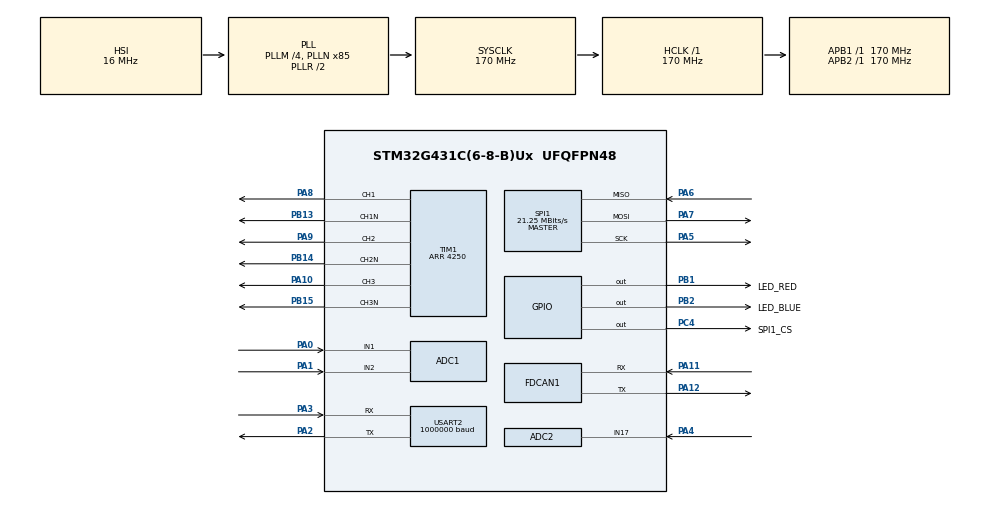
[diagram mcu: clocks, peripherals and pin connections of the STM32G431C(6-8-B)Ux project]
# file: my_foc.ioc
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ADC1.EnableInjectedConversion=ENABLE
ADC1.EnableRegularConversion=DISABLE
ADC1.ExternalTrigInjecConv=ADC_EXTERNALTRIGINJEC_T1_TRGO
ADC1.InjNumberOfConversion=2
ADC1.InjectedChannel-1\#ChannelInjectedConversion=ADC_CHANNEL_1
ADC1.InjectedChannel-2\#ChannelInjectedConversion=ADC_CHANNEL_2
ADC1.InjectedOffsetNumber-1\#ChannelInjectedConversion=ADC_OFFSET_NONE
ADC1.InjectedOffsetNumber-2\#ChannelInjectedConversion=ADC_OFFSET_NONE
ADC1.InjectedRank-1\#ChannelInjectedConversion=1
ADC1.InjectedRank-2\#ChannelInjectedConversion=2
ADC1.InjectedSamplingTime-1\#ChannelInjectedConversion=ADC_SAMPLETIME_47CYCLES_5
ADC1.InjectedSamplingTime-2\#ChannelInjectedConversion=ADC_SAMPLETIME_47CYCLES_5
ADC1.Rank1_Channel=ADC_CHANNEL_1
ADC1.Rank2_Channel=ADC_CHANNEL_2
ADC1.master=1
ADC2.Channel-1\#ChannelRegularConversion=ADC_CHANNEL_17
ADC2.NbrOfConversionFlag=1
ADC2.OffsetNumber-1\#ChannelRegularConversion=ADC_OFFSET_NONE
ADC2.Rank-1\#ChannelRegularConversion=1
ADC2.SamplingTime-1\#ChannelRegularConversion=ADC_SAMPLETIME_47CYCLES_5
Dma.Request0=USART2_TX
Dma.Request1=USART2_RX
Dma.USART2_RX.1.Direction=DMA_PERIPH_TO_MEMORY
Dma.USART2_RX.1.EventEnable=DISABLE
Dma.USART2_RX.1.Instance=DMA1_Channel2
Dma.USART2_RX.1.MemDataAlignment=DMA_MDATAALIGN_BYTE
Dma.USART2_RX.1.MemInc=DMA_MINC_ENABLE
Dma.USART2_RX.1.Mode=DMA_NORMAL
Dma.USART2_RX.1.PeriphDataAlignment=DMA_PDATAALIGN_BYTE
Dma.USART2_RX.1.PeriphInc=DMA_PINC_DISABLE
Dma.USART2_RX.1.Polarity=HAL_DMAMUX_REQ_GEN_RISING
Dma.USART2_RX.1.Priority=DMA_PRIORITY_HIGH
Dma.USART2_RX.1.RequestNumber=1
Dma.USART2_RX.1.SignalID=NONE
Dma.USART2_RX.1.SyncEnable=DISABLE
Dma.USART2_RX.1.SyncPolarity=HAL_DMAMUX_SYNC_NO_EVENT
Dma.USART2_RX.1.SyncRequestNumber=1
Dma.USART2_RX.1.SyncSignalID=NONE
Dma.USART2_TX.0.Direction=DMA_MEMORY_TO_PERIPH
Dma.USART2_TX.0.EventEnable=DISABLE
Dma.USART2_TX.0.Instance=DMA1_Channel1
Dma.USART2_TX.0.MemDataAlignment=DMA_MDATAALIGN_BYTE
Dma.USART2_TX.0.MemInc=DMA_MINC_ENABLE
Dma.USART2_TX.0.Mode=DMA_NORMAL
Dma.USART2_TX.0.PeriphDataAlignment=DMA_PDATAALIGN_BYTE
Dma.USART2_TX.0.PeriphInc=DMA_PINC_DISABLE
Dma.USART2_TX.0.Polarity=HAL_DMAMUX_REQ_GEN_RISING
Dma.USART2_TX.0.Priority=DMA_PRIORITY_HIGH
Dma.USART2_TX.0.RequestNumber=1
Dma.USART2_TX.0.SignalID=NONE
Dma.USART2_TX.0.SyncEnable=DISABLE
Dma.USART2_TX.0.SyncPolarity=HAL_DMAMUX_SYNC_NO_EVENT
Dma.USART2_TX.0.SyncRequestNumber=1
Dma.USART2_TX.0.SyncSignalID=NONE
FDCAN1.AutoRetransmission=ENABLE
FDCAN1.CalculateBaudRateNominal=999999
FDCAN1.CalculateTimeBitNominal=1000
FDCAN1.CalculateTimeQuantumNominal=58.82352941176471
FDCAN1.DataSyncJumpWidth=3
FDCAN1.FrameFormat=FDCAN_FRAME_FD_NO_BRS
FDCAN1.Mode=FDCAN_MODE_NORMAL
FDCAN1.NominalPrescaler=10
FDCAN1.NominalTimeSeg1=13
FDCAN1.NominalTimeSeg2=3
FDCAN1.StdFiltersNbr=1
Mcu.Family=STM32G4
Mcu.Name=STM32G431C(6-8-B)Ux
Mcu.Package=UFQFPN48
NVIC.ADC1_2_IRQn=true\:0\:0\:false\:false\:true\:true\:true\:true
NVIC.DMA1_Channel1_IRQn=true\:0\:0\:false\:false\:true\:false\:true\:true
NVIC.DMA1_Channel2_IRQn=true\:0\:0\:false\:false\:true\:false\:true\:true
NVIC.FDCAN1_IT0_IRQn=true\:0\:0\:false\:false\:true\:true\:true\:true
NVIC.PriorityGroup=NVIC_PRIORITYGROUP_4
NVIC.TIM1_UP_TIM16_IRQn=true\:0\:0\:false\:false\:true\:true\:true\:true
NVIC.TIM2_IRQn=true\:0\:0\:false\:false\:true\:true\:true\:true
NVIC.USART2_IRQn=true\:0\:0\:false\:false\:true\:true\:true\:true
PA0.Mode=IN1-Single-Ended
PA0.Signal=ADC1_IN1
PA1.Mode=IN2-Single-Ended
PA1.Signal=ADC1_IN2
PA10.Signal=S_TIM1_CH3
PA11.Mode=FDCAN_Activate
PA11.Signal=FDCAN1_RX
PA12.Mode=FDCAN_Activate
PA12.Signal=FDCAN1_TX
PA13.Mode=Serial_Wire
PA13.Signal=SYS_JTMS-SWDIO
PA14.Mode=Serial_Wire
PA14.Signal=SYS_JTCK-SWCLK
PA2.Mode=Asynchronous
PA2.Signal=USART2_TX
PA3.Mode=Asynchronous
PA3.Signal=USART2_RX
PA4.Mode=IN17-Single-Ended
PA4.Signal=ADC2_IN17
PA5.Mode=Full_Duplex_Master
PA5.Signal=SPI1_SCK
PA6.Mode=Full_Duplex_Master
PA6.Signal=SPI1_MISO
PA7.Mode=Full_Duplex_Master
PA7.Signal=SPI1_MOSI
PA8.Signal=S_TIM1_CH1
PA9.Signal=S_TIM1_CH2
PB1.GPIO_Label=LED_RED
PB1.GPIO_ModeDefaultOutputPP=GPIO_MODE_OUTPUT_PP
PB1.GPIO_PuPd=GPIO_PULLUP
PB1.Signal=GPIO_Output
PB13.Mode=PWM Generation1 CH1 CH1N
PB13.Signal=TIM1_CH1N
PB14.Mode=PWM Generation2 CH2 CH2N
PB14.Signal=TIM1_CH2N
PB15.Mode=PWM Generation3 CH3 CH3N
PB15.Signal=TIM1_CH3N
PB2.GPIO_Label=LED_BLUE
PB2.GPIO_PuPd=GPIO_PULLUP
PB2.Signal=GPIO_Output
PC4.GPIO_Label=SPI1_CS
PC4.GPIO_Speed=GPIO_SPEED_FREQ_VERY_HIGH
PC4.PinState=GPIO_PIN_SET
PC4.Signal=GPIO_Output
ProjectManager.HeapSize=0x1000
ProjectManager.StackSize=0x1000
ProjectManager.TargetToolchain=CMake
RCC.ADC12Freq_Value=170000000
RCC.AHBFreq_Value=170000000
RCC.APB1Freq_Value=170000000
RCC.APB1TimFreq_Value=170000000
RCC.APB2Freq_Value=170000000
RCC.APB2TimFreq_Value=170000000
RCC.CortexFreq_Value=170000000
RCC.EXTERNAL_CLOCK_VALUE=12288000
RCC.HCLKFreq_Value=170000000
RCC.HSE_VALUE=8000000
RCC.HSI48_VALUE=48000000
RCC.HSI_VALUE=16000000
RCC.LSE_VALUE=32768
RCC.PLLM=RCC_PLLM_DIV4
RCC.PLLN=85
RCC.SYSCLKFreq_VALUE=170000000
RCC.SYSCLKSource=RCC_SYSCLKSOURCE_PLLCLK
RCC.USBFreq_Value=170000000
RCC.VCOOutputFreq_Value=340000000
SH.S_TIM1_CH1.0=TIM1_CH1,PWM Generation1 CH1 CH1N
SH.S_TIM1_CH2.0=TIM1_CH2,PWM Generation2 CH2 CH2N
SH.S_TIM1_CH3.0=TIM1_CH3,PWM Generation3 CH3 CH3N
SPI1.BaudRatePrescaler=SPI_BAUDRATEPRESCALER_8
SPI1.CLKPhase=SPI_PHASE_2EDGE
SPI1.CLKPolarity=SPI_POLARITY_HIGH
SPI1.CalculateBaudRate=21.25 MBits/s
SPI1.DataSize=SPI_DATASIZE_8BIT
SPI1.Direction=SPI_DIRECTION_2LINES
SPI1.Mode=SPI_MODE_MASTER
SPI1.VirtualType=VM_MASTER
TIM1.AutoReloadPreload=TIM_AUTORELOAD_PRELOAD_ENABLE
TIM1.AutomaticOutput=TIM_AUTOMATICOUTPUT_ENABLE
TIM1.Channel-PWM\ Generation1\ CH1\ CH1N=TIM_CHANNEL_1
TIM1.Channel-PWM\ Generation2\ CH2\ CH2N=TIM_CHANNEL_2
TIM1.Channel-PWM\ Generation3\ CH3\ CH3N=TIM_CHANNEL_3
TIM1.Channel-PWM\ Generation4\ No\ Output=TIM_CHANNEL_4
TIM1.CounterMode=TIM_COUNTERMODE_CENTERALIGNED1
TIM1.DeadTime=100
TIM1.PeriodNoDither=4250
TIM1.PulseNoDither_4=200
TIM1.RepetitionCounter=1
TIM1.TIM_MasterOutputTrigger=TIM_TRGO_OC4REF
TIM2.PeriodNoDither=1000 -1
TIM2.Prescaler=170 -1
USART2.BaudRate=1000000
USART2.VirtualMode-Asynchronous=VM_ASYNC
VP_CORDIC_VS_CORDIC.Mode=CORDIC_Activate
VP_SYS_VS_DBSignals.Mode=DisableDeadBatterySignals
VP_TIM1_VS_no_output4.Mode=PWM Generation4 No Output
VP_TIM2_VS_ClockSourceINT.Mode=Internal
board=custom

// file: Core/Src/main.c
/* USER CODE BEGIN Header */
/**
  ******************************************************************************
  * @file           : main.c
  * @brief          : Main program body
  ******************************************************************************
  * @attention
  *
  * Copyright (c) 2026 STMicroelectronics.
  * All rights reserved.
  *
  * This software is licensed under terms that can be found in the LICENSE file
  * in the root directory of this software component.
  * If no LICENSE file comes with this software, it is provided AS-IS.
  *
  ******************************************************************************
  */
/* USER CODE END Header */
#include "main.h"
#include "adc.h"
#include "cordic.h"
#include "dma.h"
#include "fdcan.h"
#include "spi.h"
#include "tim.h"
#include "usart.h"
#include "gpio.h"

/* USER CODE BEGIN Includes */
#include "foc.h"
#include "MT6825GT.h"
#include "current_sense.h"
#include "myUsart.h"
#include "storage.h"
#include "user_protocol.h"
#include "can_comm.h"
#include "openmv.h"

// 外部变量声明（用于时间测量）
extern TIM_HandleTypeDef htim2;

/* USER CODE END Includes */

void SystemClock_Config(void);

int main(void)
{

  /* MCU Configuration--------------------------------------------------------*/

  /* Reset of all peripherals, Initializes the Flash interface and the Systick. */

  HAL_Init();

  /* Configure the system clock */
  SystemClock_Config();

  /* Initialize all configured peripherals */
  MX_GPIO_Init();
  MX_DMA_Init();
  MX_ADC1_Init();
  MX_ADC2_Init();
  MX_FDCAN1_Init();
  MX_SPI1_Init();
  MX_TIM1_Init();
  MX_USART2_UART_Init();
  MX_CORDIC_Init();
  MX_TIM2_Init();
  /* USER CODE BEGIN 2 */
  CAN_Comm_Init();//初始化fdcan通信
  // 初始化MT6825GT编码器（必须在SPI初始化之后）
  MT6825_Init();
  // 初始化FOC
  FOC_Init();
  // 初始化电流采样模块
  CurrentSense_Init();
  //上电读取一下母线电压
  FOC_Read_Vbat_Voltage();
  FOC_Update_PID_Parameter();//根据电压更新pid参数
  // 启动电流采样（会启动ADC注入转换）
  CurrentSense_Start();
  // float electrical_angle = 0.0f;//电角度
  //FOC校准
  Storage_ReadConfig(&config_info);//第一次读取是0xFF calibrated
  if(config_info.calibrated != 1){//检测是否校准过
    config_info.motor_id = 0;//默认id为0
    FOC_Calibrate();//校准
    Storage_WriteConfig(&config_info);//写入配置信息
  }
  OpenMV_Init(&openmv);
  MyUsart_Init_DMA_Receive();//启动串口2的dma接收
  // static uint8_t tx_data[8] = {0xAA, 0x01, 0x02, 0x03, 0xFF};  // 不需要4字节对齐
  // FOC_Set_Parameter(FOC_MODE_LOW_SPEED_LOOP, 10.0f);
  // float electrical_angle = 0.0f;//电角度
  // FOC_SetDuty(0.2f, 0.5f, 0.7f);
  /* USER CODE END 2 */

  /* Infinite loop */
  while (1)
  {

    /* USER CODE BEGIN 3 */
    // electrical_angle += 0.1f;
    // FOC_SetPhaseVoltage(0.0f, 0.2f, electrical_angle);
    // FOC_SetDuty(0.2f, 0.5f, 0.7f);
    if(config_info.motor_id==0x02){//只有顶部的电机进行openmv数据处理和pid，计算后直接通过can总线发送给电机2
      OpenMV_Process(&openmv);//进行openmv数据处理和pid计算
    }
    if(calibrated_flag == 1){//耗时操作放到主循环中
      FOC_Calibrate();//是否校准的标志位是is_calibrated
      Storage_WriteConfig(&config_info);//写入配置信息
      calibrated_flag = 0;
    }
    if(save_config_flag == 1){
      Storage_WriteConfig(&config_info);//写入配置信息
      save_config_flag = 0;
    }
    // MyUsart_SendAllCurrentsFromGlobal();
    // CAN_Comm_Transmit_To_ID(0x001, tx_data, 5);
    HAL_Delay(1);
  }
  /* USER CODE END 3 */
}

void SystemClock_Config(void)
{
  RCC_OscInitTypeDef RCC_OscInitStruct = {0};
  RCC_ClkInitTypeDef RCC_ClkInitStruct = {0};

  /** Configure the main internal regulator output voltage
  */
  HAL_PWREx_ControlVoltageScaling(PWR_REGULATOR_VOLTAGE_SCALE1_BOOST);

  /** Initializes the RCC Oscillators according to the specified parameters
  * in the RCC_OscInitTypeDef structure.
  */
  RCC_OscInitStruct.OscillatorType = RCC_OSCILLATORTYPE_HSI;
  RCC_OscInitStruct.HSIState = RCC_HSI_ON;
  RCC_OscInitStruct.HSICalibrationValue = RCC_HSICALIBRATION_DEFAULT;
  RCC_OscInitStruct.PLL.PLLState = RCC_PLL_ON;
  RCC_OscInitStruct.PLL.PLLSource = RCC_PLLSOURCE_HSI;
  RCC_OscInitStruct.PLL.PLLM = RCC_PLLM_DIV4;
  RCC_OscInitStruct.PLL.PLLN = 85;
  RCC_OscInitStruct.PLL.PLLP = RCC_PLLP_DIV2;
  RCC_OscInitStruct.PLL.PLLQ = RCC_PLLQ_DIV2;
  RCC_OscInitStruct.PLL.PLLR = RCC_PLLR_DIV2;
  if (HAL_RCC_OscConfig(&RCC_OscInitStruct) != HAL_OK)
  {
    Error_Handler();
  }

  /** Initializes the CPU, AHB and APB buses clocks
  */
  RCC_ClkInitStruct.ClockType = RCC_CLOCKTYPE_HCLK|RCC_CLOCKTYPE_SYSCLK
                              |RCC_CLOCKTYPE_PCLK1|RCC_CLOCKTYPE_PCLK2;
  RCC_ClkInitStruct.SYSCLKSource = RCC_SYSCLKSOURCE_PLLCLK;
  RCC_ClkInitStruct.AHBCLKDivider = RCC_SYSCLK_DIV1;
  RCC_ClkInitStruct.APB1CLKDivider = RCC_HCLK_DIV1;
  RCC_ClkInitStruct.APB2CLKDivider = RCC_HCLK_DIV1;

  if (HAL_RCC_ClockConfig(&RCC_ClkInitStruct, FLASH_LATENCY_4) != HAL_OK)
  {
    Error_Handler();
  }
}

/* USER CODE BEGIN 4 */

/**
 * @brief  ADC注入转换完成回调函数
 * @param  hadc: ADC句柄
 * @retval None
 */
void HAL_ADCEx_InjectedConvCpltCallback(ADC_HandleTypeDef* hadc)
{
    if (hadc->Instance == ADC1)
    {
        // tim2shi
        // ADC注入转换完成，此时数据已经存储在注入数据寄存器中
        // 在这里同步读取角度和电流，然后执行FOC更新，确保数据时间戳一致
        // 调试：如果这个回调都没有进入，说明ADC中断没有被触发
        // 请检查：1. TIM1是否运行 2. TRGO是否产生 3. ADC注入转换是否启动
        CurrentSense_Update();
        //执行foc的电流环更新
        FOC_Current_Loop_Update();
    }
}

void HAL_TIM_PeriodElapsedCallback(TIM_HandleTypeDef *htim)
{
  if (htim->Instance == TIM2)// tim2的计时是1khz
  {
    //执行foc的角度环和速度环更新
    FOC_Angle_And_Speed_Update();
  }
}

/* USER CODE END 4 */

void Error_Handler(void)
{
  __disable_irq();
  while (1)
  {
  }
}
